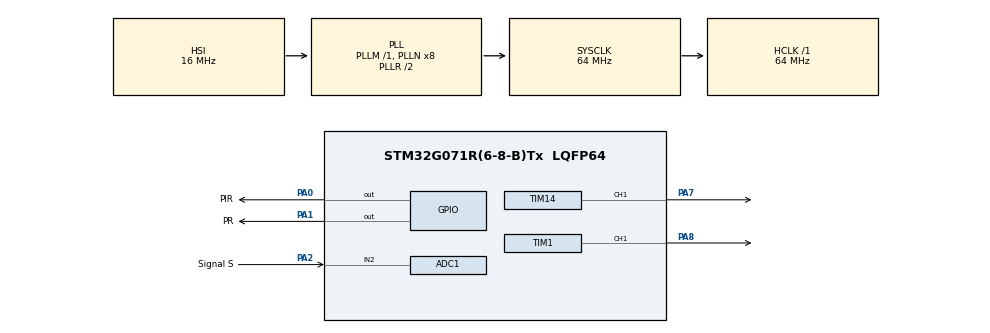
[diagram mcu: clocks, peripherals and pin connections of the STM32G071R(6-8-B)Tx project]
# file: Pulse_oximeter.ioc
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ADC1.Channel-0\#ChannelRegularConversion=ADC_CHANNEL_2
ADC1.NbrOfConversion=1
ADC1.NbrOfConversionFlag=1
ADC1.Rank-0\#ChannelRegularConversion=1
ADC1.Resolution=ADC_RESOLUTION_12B
ADC1.SamplingTime-0\#ChannelRegularConversion=ADC_SAMPLINGTIME_COMMON_1
ADC1.SamplingTimeCommon1=ADC_SAMPLETIME_12CYCLES_5
ADC1.SamplingTimeCommon2=ADC_SAMPLETIME_12CYCLES_5
ADC1.SelectedChannel=ADC_CHANNEL_2
ADC1.master=1
Mcu.Family=STM32G0
Mcu.Name=STM32G071R(6-8-B)Tx
Mcu.Package=LQFP64
NVIC.TIM2_IRQn=true\:0\:0\:false\:false\:true\:true\:true\:true
NVIC.TIM3_IRQn=true\:0\:0\:false\:false\:true\:true\:true\:true
PA0.GPIO_Label=PIR
PA0.GPIO_Speed=GPIO_SPEED_FREQ_VERY_HIGH
PA0.Signal=GPIO_Output
PA1.GPIO_Label=PR
PA1.GPIO_Speed=GPIO_SPEED_FREQ_VERY_HIGH
PA1.Signal=GPIO_Output
PA13.GPIO_Label=TMS
PA13.Mode=Serial_Wire
PA13.Signal=SYS_SWDIO
PA14-BOOT0.GPIO_Label=TCK
PA14-BOOT0.Mode=Serial_Wire
PA14-BOOT0.Signal=SYS_SWCLK
PA2.GPIO_Label=Signal S
PA2.Mode=IN2
PA2.Signal=ADC1_IN2
PA7.Signal=S_TIM14_CH1
PA8.Signal=S_TIM1_CH1
PC13.Mode=SYS_WakeUp1
PC13.Signal=SYS_WKUP2
PC14-OSC32_IN\ (PC14).Mode=LSE-External-Oscillator
PC14-OSC32_IN\ (PC14).Signal=RCC_OSC32_IN
PC15-OSC32_OUT\ (PC15).Mode=LSE-External-Oscillator
PC15-OSC32_OUT\ (PC15).Signal=RCC_OSC32_OUT
PF0-OSC_IN\ (PF0).GPIO_Label=MCO
PF0-OSC_IN\ (PF0).Mode=HSE-External-Oscillator
PF0-OSC_IN\ (PF0).Signal=RCC_OSC_IN
PF1-OSC_OUT\ (PF1).Mode=HSE-External-Oscillator
PF1-OSC_OUT\ (PF1).Signal=RCC_OSC_OUT
ProjectManager.HeapSize=0x200
ProjectManager.StackSize=0x400
ProjectManager.TargetToolchain=STM32CubeIDE
RCC.ADCFreq_Value=64000000
RCC.AHBFreq_Value=64000000
RCC.CortexFreq_Value=64000000
RCC.EXTERNAL_CLOCK_VALUE=12288000
RCC.HCLKFreq_Value=64000000
RCC.HSE_VALUE=8000000
RCC.HSI_VALUE=16000000
RCC.PLLQ=RCC_PLLQ_DIV4
RCC.SYSCLKFreq_VALUE=64000000
RCC.SYSCLKSource=RCC_SYSCLKSOURCE_PLLCLK
RCC.VCOOutputFreq_Value=128000000
SH.S_TIM14_CH1.0=TIM14_CH1,PWM Generation1 CH1
SH.S_TIM1_CH1.0=TIM1_CH1,PWM Generation1 CH1
TIM1.AutoReloadPreload=TIM_AUTORELOAD_PRELOAD_ENABLE
TIM1.Channel-PWM\ Generation1\ CH1=TIM_CHANNEL_1
TIM1.Period=1279
TIM1.Prescaler=0
TIM14.AutoReloadPreload=TIM_AUTORELOAD_PRELOAD_ENABLE
TIM14.Channel=TIM_CHANNEL_1
TIM14.Period=1279
TIM14.Prescaler=0
TIM2.AutoReloadPreload=TIM_AUTORELOAD_PRELOAD_ENABLE
TIM2.Period=1279
TIM2.Prescaler=0
TIM3.AutoReloadPreload=TIM_AUTORELOAD_PRELOAD_ENABLE
TIM3.Period=1279
TIM3.Prescaler=0
VP_TIM14_VS_ClockSourceINT.Mode=Enable_Timer
VP_TIM1_VS_ClockSourceINT.Mode=Internal
VP_TIM2_VS_ClockSourceINT.Mode=Internal
VP_TIM3_VS_ClockSourceINT.Mode=Internal
board=NUCLEO-G071RB

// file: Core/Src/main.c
/* USER CODE BEGIN Header */
/**
  ******************************************************************************
  * @file           : main.c
  * @brief          : Main program body
  ******************************************************************************
  * @attention
  *
  * Copyright (c) 2026 STMicroelectronics.
  * All rights reserved.
  *
  * This software is licensed under terms that can be found in the LICENSE file
  * in the root directory of this software component.
  * If no LICENSE file comes with this software, it is provided AS-IS.
  *
  ******************************************************************************
  */
/* USER CODE END Header */
#include "main.h"

ADC_HandleTypeDef hadc1;

TIM_HandleTypeDef htim1;
TIM_HandleTypeDef htim2;
TIM_HandleTypeDef htim3;
TIM_HandleTypeDef htim14;

/* USER CODE BEGIN PV */
 // PINS FOR CIR,PIR,CR,PR,ADC_S,ADC_GS
//PA0=PIR
//PA1=PR
//PA2=ADC_S
//PA3=ADC_GS NOT IMPLEMENTED YET
//PA8=CIR
//PA7=CR

uint32_t shift_counter=0;

uint32_t duty_cycle_PIR=25; //25% dc
uint32_t pwm_PIR=0;

volatile int flag_CIR=0;
volatile int flag_CR=0;

uint32_t duty_cycle_CR=639; //50% dc
uint32_t max_duty_cycle_CR=1151; //90% dc
uint32_t min_duty_cycle_CR=64; //5% dc
uint32_t adc_val_CR=0;

uint32_t duty_cycle_CIR=639; //50% dc
uint32_t max_duty_cycle_CIR=1151; //90%dc
uint32_t min_duty_cycle_CIR=64; //5% dc
uint32_t adc_val_CIR=0;

uint16_t low_threshold_adc=2500; //2.014 Vdc
uint16_t high_threshold_adc=2550; //2.054 Vdc

uint32_t duty_cycle_PR=25; //25% dc
uint32_t pwm_PR=0;
/* USER CODE END PV */

void SystemClock_Config(void);
static void MX_GPIO_Init(void);
static void MX_TIM2_Init(void);
static void MX_TIM1_Init(void);
static void MX_TIM3_Init(void);
static void MX_TIM14_Init(void);
static void MX_ADC1_Init(void);

int main(void)
{

  /* MCU Configuration--------------------------------------------------------*/

  /* Reset of all peripherals, Initializes the Flash interface and the Systick. */
  HAL_Init();

  /* Configure the system clock */
  SystemClock_Config();

  /* Initialize all configured peripherals */
  MX_GPIO_Init();
  MX_TIM2_Init();
  MX_TIM1_Init();
  MX_TIM3_Init();
  MX_TIM14_Init();
  MX_ADC1_Init();
  /* USER CODE BEGIN 2 */
  HAL_TIM_Base_Start_IT(&htim2);
  HAL_TIM_Base_Start_IT(&htim3);
  HAL_TIM_PWM_Start(&htim1,TIM_CHANNEL_1);
  HAL_TIM_PWM_Start(&htim14,TIM_CHANNEL_1);

  /* USER CODE END 2 */

  /* Infinite loop */
  /* USER CODE BEGIN WHILE */
  while (1)
  {

	 // TIM14->CCR1=duty_cycle_CR;
    /* USER CODE END WHILE */

  }
}

void SystemClock_Config(void)
{
  RCC_OscInitTypeDef RCC_OscInitStruct = {0};
  RCC_ClkInitTypeDef RCC_ClkInitStruct = {0};

  /** Configure the main internal regulator output voltage
  */
  HAL_PWREx_ControlVoltageScaling(PWR_REGULATOR_VOLTAGE_SCALE1);

  /** Initializes the RCC Oscillators according to the specified parameters
  * in the RCC_OscInitTypeDef structure.
  */
  RCC_OscInitStruct.OscillatorType = RCC_OSCILLATORTYPE_HSI;
  RCC_OscInitStruct.HSIState = RCC_HSI_ON;
  RCC_OscInitStruct.HSIDiv = RCC_HSI_DIV1;
  RCC_OscInitStruct.HSICalibrationValue = RCC_HSICALIBRATION_DEFAULT;
  RCC_OscInitStruct.PLL.PLLState = RCC_PLL_ON;
  RCC_OscInitStruct.PLL.PLLSource = RCC_PLLSOURCE_HSI;
  RCC_OscInitStruct.PLL.PLLM = RCC_PLLM_DIV1;
  RCC_OscInitStruct.PLL.PLLN = 8;
  RCC_OscInitStruct.PLL.PLLP = RCC_PLLP_DIV2;
  RCC_OscInitStruct.PLL.PLLQ = RCC_PLLQ_DIV4;
  RCC_OscInitStruct.PLL.PLLR = RCC_PLLR_DIV2;
  if (HAL_RCC_OscConfig(&RCC_OscInitStruct) != HAL_OK)
  {
    Error_Handler();
  }

  /** Initializes the CPU, AHB and APB buses clocks
  */
  RCC_ClkInitStruct.ClockType = RCC_CLOCKTYPE_HCLK|RCC_CLOCKTYPE_SYSCLK
                              |RCC_CLOCKTYPE_PCLK1;
  RCC_ClkInitStruct.SYSCLKSource = RCC_SYSCLKSOURCE_PLLCLK;
  RCC_ClkInitStruct.AHBCLKDivider = RCC_SYSCLK_DIV1;
  RCC_ClkInitStruct.APB1CLKDivider = RCC_HCLK_DIV1;

  if (HAL_RCC_ClockConfig(&RCC_ClkInitStruct, FLASH_LATENCY_2) != HAL_OK)
  {
    Error_Handler();
  }
}

static void MX_ADC1_Init(void)
{

  ADC_ChannelConfTypeDef sConfig = {0};

  /** Configure the global features of the ADC (Clock, Resolution, Data Alignment and number of conversion)
  */
  hadc1.Instance = ADC1;
  hadc1.Init.ClockPrescaler = ADC_CLOCK_SYNC_PCLK_DIV2;
  hadc1.Init.Resolution = ADC_RESOLUTION_12B;
  hadc1.Init.DataAlign = ADC_DATAALIGN_RIGHT;
  hadc1.Init.ScanConvMode = ADC_SCAN_DISABLE;
  hadc1.Init.EOCSelection = ADC_EOC_SINGLE_CONV;
  hadc1.Init.LowPowerAutoWait = DISABLE;
  hadc1.Init.LowPowerAutoPowerOff = DISABLE;
  hadc1.Init.ContinuousConvMode = DISABLE;
  hadc1.Init.NbrOfConversion = 1;
  hadc1.Init.DiscontinuousConvMode = DISABLE;
  hadc1.Init.ExternalTrigConv = ADC_SOFTWARE_START;
  hadc1.Init.ExternalTrigConvEdge = ADC_EXTERNALTRIGCONVEDGE_NONE;
  hadc1.Init.DMAContinuousRequests = DISABLE;
  hadc1.Init.Overrun = ADC_OVR_DATA_PRESERVED;
  hadc1.Init.SamplingTimeCommon1 = ADC_SAMPLETIME_12CYCLES_5;
  hadc1.Init.SamplingTimeCommon2 = ADC_SAMPLETIME_12CYCLES_5;
  hadc1.Init.OversamplingMode = DISABLE;
  hadc1.Init.TriggerFrequencyMode = ADC_TRIGGER_FREQ_HIGH;
  if (HAL_ADC_Init(&hadc1) != HAL_OK)
  {
    Error_Handler();
  }

  /** Configure Regular Channel
  */
  sConfig.Channel = ADC_CHANNEL_2;
  sConfig.Rank = ADC_REGULAR_RANK_1;
  sConfig.SamplingTime = ADC_SAMPLINGTIME_COMMON_1;
  if (HAL_ADC_ConfigChannel(&hadc1, &sConfig) != HAL_OK)
  {
    Error_Handler();
  }

}

static void MX_TIM1_Init(void)
{

  TIM_ClockConfigTypeDef sClockSourceConfig = {0};
  TIM_MasterConfigTypeDef sMasterConfig = {0};
  TIM_OC_InitTypeDef sConfigOC = {0};
  TIM_BreakDeadTimeConfigTypeDef sBreakDeadTimeConfig = {0};

  htim1.Instance = TIM1;
  htim1.Init.Prescaler = 0;
  htim1.Init.CounterMode = TIM_COUNTERMODE_UP;
  htim1.Init.Period = 1279;
  htim1.Init.ClockDivision = TIM_CLOCKDIVISION_DIV1;
  htim1.Init.RepetitionCounter = 0;
  htim1.Init.AutoReloadPreload = TIM_AUTORELOAD_PRELOAD_ENABLE;
  if (HAL_TIM_Base_Init(&htim1) != HAL_OK)
  {
    Error_Handler();
  }
  sClockSourceConfig.ClockSource = TIM_CLOCKSOURCE_INTERNAL;
  if (HAL_TIM_ConfigClockSource(&htim1, &sClockSourceConfig) != HAL_OK)
  {
    Error_Handler();
  }
  if (HAL_TIM_PWM_Init(&htim1) != HAL_OK)
  {
    Error_Handler();
  }
  sMasterConfig.MasterOutputTrigger = TIM_TRGO_RESET;
  sMasterConfig.MasterOutputTrigger2 = TIM_TRGO2_RESET;
  sMasterConfig.MasterSlaveMode = TIM_MASTERSLAVEMODE_DISABLE;
  if (HAL_TIMEx_MasterConfigSynchronization(&htim1, &sMasterConfig) != HAL_OK)
  {
    Error_Handler();
  }
  sConfigOC.OCMode = TIM_OCMODE_PWM1;
  sConfigOC.Pulse = 0;
  sConfigOC.OCPolarity = TIM_OCPOLARITY_HIGH;
  sConfigOC.OCNPolarity = TIM_OCNPOLARITY_HIGH;
  sConfigOC.OCFastMode = TIM_OCFAST_DISABLE;
  sConfigOC.OCIdleState = TIM_OCIDLESTATE_RESET;
  sConfigOC.OCNIdleState = TIM_OCNIDLESTATE_RESET;
  if (HAL_TIM_PWM_ConfigChannel(&htim1, &sConfigOC, TIM_CHANNEL_1) != HAL_OK)
  {
    Error_Handler();
  }
  sBreakDeadTimeConfig.OffStateRunMode = TIM_OSSR_DISABLE;
  sBreakDeadTimeConfig.OffStateIDLEMode = TIM_OSSI_DISABLE;
  sBreakDeadTimeConfig.LockLevel = TIM_LOCKLEVEL_OFF;
  sBreakDeadTimeConfig.DeadTime = 0;
  sBreakDeadTimeConfig.BreakState = TIM_BREAK_DISABLE;
  sBreakDeadTimeConfig.BreakPolarity = TIM_BREAKPOLARITY_HIGH;
  sBreakDeadTimeConfig.BreakFilter = 0;
  sBreakDeadTimeConfig.BreakAFMode = TIM_BREAK_AFMODE_INPUT;
  sBreakDeadTimeConfig.Break2State = TIM_BREAK2_DISABLE;
  sBreakDeadTimeConfig.Break2Polarity = TIM_BREAK2POLARITY_HIGH;
  sBreakDeadTimeConfig.Break2Filter = 0;
  sBreakDeadTimeConfig.Break2AFMode = TIM_BREAK_AFMODE_INPUT;
  sBreakDeadTimeConfig.AutomaticOutput = TIM_AUTOMATICOUTPUT_DISABLE;
  if (HAL_TIMEx_ConfigBreakDeadTime(&htim1, &sBreakDeadTimeConfig) != HAL_OK)
  {
    Error_Handler();
  }
  HAL_TIM_MspPostInit(&htim1);

}

static void MX_TIM2_Init(void)
{

  TIM_ClockConfigTypeDef sClockSourceConfig = {0};
  TIM_MasterConfigTypeDef sMasterConfig = {0};

  htim2.Instance = TIM2;
  htim2.Init.Prescaler = 0;
  htim2.Init.CounterMode = TIM_COUNTERMODE_UP;
  htim2.Init.Period = 1279;
  htim2.Init.ClockDivision = TIM_CLOCKDIVISION_DIV1;
  htim2.Init.AutoReloadPreload = TIM_AUTORELOAD_PRELOAD_ENABLE;
  if (HAL_TIM_Base_Init(&htim2) != HAL_OK)
  {
    Error_Handler();
  }
  sClockSourceConfig.ClockSource = TIM_CLOCKSOURCE_INTERNAL;
  if (HAL_TIM_ConfigClockSource(&htim2, &sClockSourceConfig) != HAL_OK)
  {
    Error_Handler();
  }
  sMasterConfig.MasterOutputTrigger = TIM_TRGO_RESET;
  sMasterConfig.MasterSlaveMode = TIM_MASTERSLAVEMODE_DISABLE;
  if (HAL_TIMEx_MasterConfigSynchronization(&htim2, &sMasterConfig) != HAL_OK)
  {
    Error_Handler();
  }

}

static void MX_TIM3_Init(void)
{

  TIM_ClockConfigTypeDef sClockSourceConfig = {0};
  TIM_MasterConfigTypeDef sMasterConfig = {0};

  htim3.Instance = TIM3;
  htim3.Init.Prescaler = 0;
  htim3.Init.CounterMode = TIM_COUNTERMODE_UP;
  htim3.Init.Period = 1279;
  htim3.Init.ClockDivision = TIM_CLOCKDIVISION_DIV1;
  htim3.Init.AutoReloadPreload = TIM_AUTORELOAD_PRELOAD_ENABLE;
  if (HAL_TIM_Base_Init(&htim3) != HAL_OK)
  {
    Error_Handler();
  }
  sClockSourceConfig.ClockSource = TIM_CLOCKSOURCE_INTERNAL;
  if (HAL_TIM_ConfigClockSource(&htim3, &sClockSourceConfig) != HAL_OK)
  {
    Error_Handler();
  }
  sMasterConfig.MasterOutputTrigger = TIM_TRGO_RESET;
  sMasterConfig.MasterSlaveMode = TIM_MASTERSLAVEMODE_DISABLE;
  if (HAL_TIMEx_MasterConfigSynchronization(&htim3, &sMasterConfig) != HAL_OK)
  {
    Error_Handler();
  }

}

static void MX_TIM14_Init(void)
{

  TIM_OC_InitTypeDef sConfigOC = {0};

  htim14.Instance = TIM14;
  htim14.Init.Prescaler = 0;
  htim14.Init.CounterMode = TIM_COUNTERMODE_UP;
  htim14.Init.Period = 1279;
  htim14.Init.ClockDivision = TIM_CLOCKDIVISION_DIV1;
  htim14.Init.AutoReloadPreload = TIM_AUTORELOAD_PRELOAD_ENABLE;
  if (HAL_TIM_Base_Init(&htim14) != HAL_OK)
  {
    Error_Handler();
  }
  if (HAL_TIM_PWM_Init(&htim14) != HAL_OK)
  {
    Error_Handler();
  }
  sConfigOC.OCMode = TIM_OCMODE_PWM1;
  sConfigOC.Pulse = 0;
  sConfigOC.OCPolarity = TIM_OCPOLARITY_HIGH;
  sConfigOC.OCFastMode = TIM_OCFAST_DISABLE;
  if (HAL_TIM_PWM_ConfigChannel(&htim14, &sConfigOC, TIM_CHANNEL_1) != HAL_OK)
  {
    Error_Handler();
  }
  HAL_TIM_MspPostInit(&htim14);

}

static void MX_GPIO_Init(void)
{
  GPIO_InitTypeDef GPIO_InitStruct = {0};

  /* GPIO Ports Clock Enable */
  __HAL_RCC_GPIOC_CLK_ENABLE();
  __HAL_RCC_GPIOF_CLK_ENABLE();
  __HAL_RCC_GPIOA_CLK_ENABLE();

  /*Configure GPIO pin Output Level */
  HAL_GPIO_WritePin(GPIOA, PIR_Pin|PR_Pin, GPIO_PIN_RESET);

  /*Configure GPIO pins : PIR_Pin PR_Pin */
  GPIO_InitStruct.Pin = PIR_Pin|PR_Pin;
  GPIO_InitStruct.Mode = GPIO_MODE_OUTPUT_PP;
  GPIO_InitStruct.Pull = GPIO_NOPULL;
  GPIO_InitStruct.Speed = GPIO_SPEED_FREQ_VERY_HIGH;
  HAL_GPIO_Init(GPIOA, &GPIO_InitStruct);

}

/* USER CODE BEGIN 4 */

/* USER CODE BEGIN 4 */
/* FOR FUTURE IMPLEMENTATION OF GS
void ADC_Select_Channel(uint32_t channel)
{
  ADC_ChannelConfTypeDef sConfig = {0};

  sConfig.Channel = channel;
  sConfig.Rank = ADC_REGULAR_RANK_1;
  sConfig.SamplingTime = ADC_SAMPLINGTIME_COMMON_1;

  if (HAL_ADC_ConfigChannel(&hadc1, &sConfig) != HAL_OK)
  {
    Error_Handler();
  }
}
*/

void HAL_TIM_PeriodElapsedCallback(TIM_HandleTypeDef *htim){
	if(htim->Instance==TIM2){
		//flag_PIR=1;

				  pwm_PIR++;
				  if(pwm_PIR>=100) { //100*20us = 2000 us = 2ms
					  	  	  	  	  // 20us interrupt => 50khz
					  pwm_PIR=0;

				  }

				  if(pwm_PIR<duty_cycle_PIR){
				 		  HAL_GPIO_WritePin(GPIOA,GPIO_PIN_0,GPIO_PIN_SET);
				 		  if(flag_CIR==0){
				 			  TIM1->CNT=992; //38 apo 49
				 			  TIM1->CCR1=duty_cycle_CIR;
				 			  flag_CIR=1;
				 		  }

				 		// ADC FOR SIGNAL S ACTIVATE IF IT DOESNT WORK
				 		   //WITHOUT IT
				 		  if(pwm_PIR==12){

				 			 HAL_ADC_Start(&hadc1);
				 			 HAL_ADC_PollForConversion(&hadc1,1);
				 			 adc_val_CIR=HAL_ADC_GetValue(&hadc1);

				 			 if(adc_val_CIR<low_threshold_adc && duty_cycle_CIR<max_duty_cycle_CIR){
				 				 duty_cycle_CIR++;
				 			 }

				 			 if(adc_val_CIR>high_threshold_adc && duty_cycle_CIR>min_duty_cycle_CIR){
				 				 duty_cycle_CIR--;
				 			 }

				 		  }
				 	  }

				 	  else {
				 		  HAL_GPIO_WritePin(GPIOA,GPIO_PIN_0,GPIO_PIN_RESET);
				 		  TIM1->CCR1=0;
				 		  flag_CIR=0;

				 	  }

	}

	if(htim->Instance==TIM3){
		if(shift_counter<=50){
		shift_counter++;
		}

		else if(shift_counter>50){

		pwm_PR++;
		if(pwm_PR>=100){ //100*20 us = 2000us = 2ms
			pwm_PR=0;
		}

		if(pwm_PR<duty_cycle_PR){
			HAL_GPIO_WritePin(GPIOA,GPIO_PIN_1,GPIO_PIN_SET);
			if(flag_CR==0){
				TIM14->CNT=992;
				TIM14->CCR1=duty_cycle_CR;
				flag_CR=1;
			}

			// ADC FOR SIGNAL S ACTIVATE IF IT DOESNT WORK
				 		   //WITHOUT IT
			if(pwm_PR==12){

				 HAL_ADC_Start(&hadc1);
				 HAL_ADC_PollForConversion(&hadc1,1);
			     adc_val_CR=HAL_ADC_GetValue(&hadc1);

				 if(adc_val_CR<low_threshold_adc && duty_cycle_CR<max_duty_cycle_CR){
								 duty_cycle_CR++;
					 }

				 if(adc_val_CR>high_threshold_adc && duty_cycle_CR>min_duty_cycle_CR){
								 	 duty_cycle_CR--;
								 }
			}

		}

		else {
			HAL_GPIO_WritePin(GPIOA,GPIO_PIN_1,GPIO_PIN_RESET);
			TIM14->CCR1=0;
			flag_CR=0;
		}
		}

	}

}

/* USER CODE END 4 */

void Error_Handler(void)
{
  __disable_irq();
  while (1)
  {
  }
}
